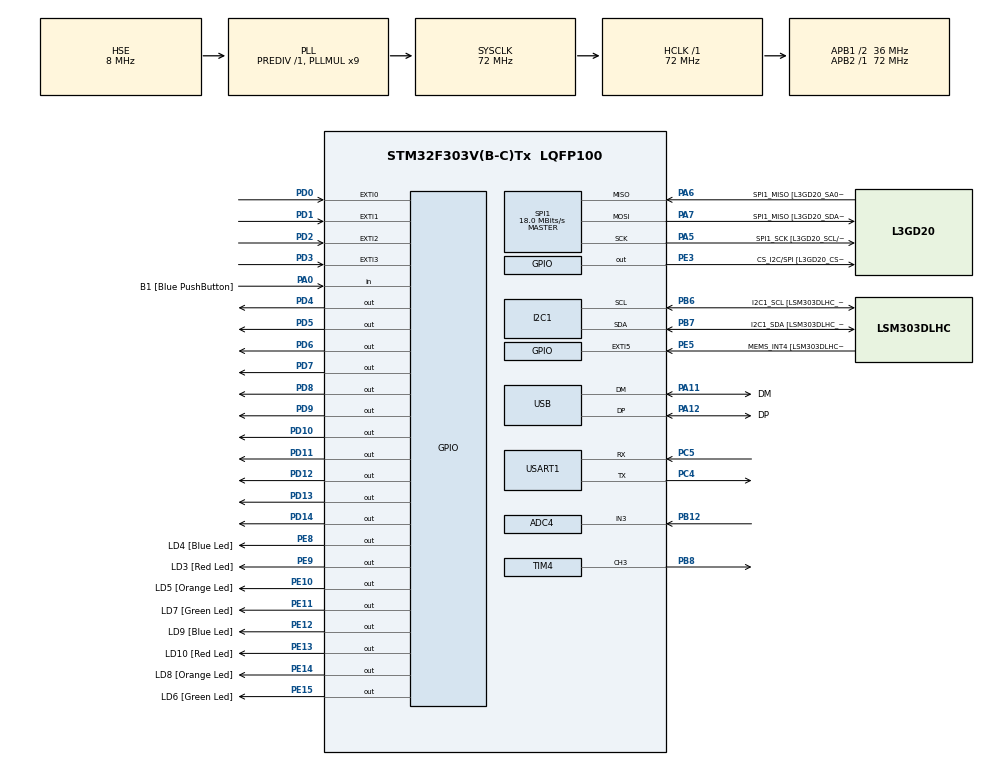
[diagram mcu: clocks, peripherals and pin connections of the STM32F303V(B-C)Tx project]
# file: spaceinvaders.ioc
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ADC4.Channel-0\#ChannelRegularConversion=ADC_CHANNEL_3
ADC4.NbrOfConversionFlag=1
ADC4.Offset-0\#ChannelRegularConversion=0
ADC4.OffsetNumber-0\#ChannelRegularConversion=ADC_OFFSET_NONE
ADC4.Rank-0\#ChannelRegularConversion=1
ADC4.SamplingTime-0\#ChannelRegularConversion=ADC_SAMPLETIME_601CYCLES_5
ADC4.SamplingTimeOPAMP-0\#ChannelRegularConversion=ADC_SAMPLETIME_61CYCLES_5
I2C1.Timing-I2C=0x2000090E
Mcu.Family=STM32F3
Mcu.Name=STM32F303V(B-C)Tx
Mcu.Package=LQFP100
NVIC.ADC4_IRQn=true\:6\:0\:true\:false\:true\:true\:true\:true
NVIC.EXTI0_IRQn=true\:3\:0\:true\:false\:true\:true\:true\:true
NVIC.EXTI1_IRQn=true\:3\:0\:true\:false\:true\:true\:true\:true
NVIC.EXTI2_TSC_IRQn=true\:3\:0\:true\:false\:true\:true\:true\:true
NVIC.EXTI3_IRQn=true\:3\:0\:true\:false\:true\:true\:true\:true
NVIC.PriorityGroup=NVIC_PRIORITYGROUP_3
NVIC.TIM2_IRQn=true\:5\:0\:true\:false\:true\:true\:true\:true
NVIC.TIM3_IRQn=true\:4\:0\:true\:false\:true\:true\:true\:true
NVIC.USART1_IRQn=true\:2\:0\:true\:false\:true\:true\:true\:true
PA0.GPIO_Label=B1 [Blue PushButton]
PA0.Signal=GPIO_Input
PA11.GPIO_Label=DM
PA11.Mode=Device
PA11.Signal=USB_DM
PA12.GPIO_Label=DP
PA12.Mode=Device
PA12.Signal=USB_DP
PA13.GPIO_Label=SWDIO
PA13.Mode=Serial_Wire
PA13.Signal=SYS_JTMS-SWDIO
PA14.GPIO_Label=SWCLK
PA14.Mode=Serial_Wire
PA14.Signal=SYS_JTCK-SWCLK
PA5.GPIO_Label=SPI1_SCK [L3GD20_SCL/SPC]
PA5.Mode=Full_Duplex_Master
PA5.Signal=SPI1_SCK
PA6.GPIO_Label=SPI1_MISO [L3GD20_SA0/SDO]
PA6.Mode=Full_Duplex_Master
PA6.Signal=SPI1_MISO
PA7.GPIO_Label=SPI1_MISO [L3GD20_SDA/SDI/SDO]
PA7.Mode=Full_Duplex_Master
PA7.Signal=SPI1_MOSI
PB12.Mode=IN3-Single-Ended
PB12.Signal=ADC4_IN3
PB3.GPIO_Label=SWO
PB3.Signal=SYS_JTDO-TRACESWO
PB6.GPIO_Label=I2C1_SCL [LSM303DLHC_SCL]
PB6.GPIO_Pu=GPIO_PULLUP
PB6.Mode=I2C
PB6.Signal=I2C1_SCL
PB7.GPIO_Label=I2C1_SDA [LSM303DLHC_SDA]
PB7.GPIO_Pu=GPIO_PULLUP
PB7.Mode=I2C
PB7.Signal=I2C1_SDA
PB8.Signal=S_TIM4_CH3
PC14-OSC32_IN.GPIO_Label=OSC32_IN
PC14-OSC32_IN.Signal=RCC_OSC32_IN
PC15-OSC32_OUT.GPIO_Label=OSC32_OUT
PC15-OSC32_OUT.Signal=RCC_OSC32_OUT
PC4.Mode=Asynchronous
PC4.Signal=USART1_TX
PC5.Mode=Asynchronous
PC5.Signal=USART1_RX
PD0.GPIO_PuPd=GPIO_PULLDOWN
PD0.Signal=GPXTI0
PD1.GPIO_PuPd=GPIO_PULLDOWN
PD1.Signal=GPXTI1
PD10.Signal=GPIO_Output
PD11.Signal=GPIO_Output
PD12.Signal=GPIO_Output
PD13.Signal=GPIO_Output
PD14.Signal=GPIO_Output
PD2.GPIO_PuPd=GPIO_PULLDOWN
PD2.Signal=GPXTI2
PD3.GPIO_PuPd=GPIO_PULLDOWN
PD3.Signal=GPXTI3
PD4.Signal=GPIO_Output
PD5.Signal=GPIO_Output
PD6.Signal=GPIO_Output
PD7.Signal=GPIO_Output
PD8.Signal=GPIO_Output
PD9.Signal=GPIO_Output
PE10.GPIO_Label=LD5 [Orange Led]
PE10.Signal=GPIO_Output
PE11.GPIO_Label=LD7 [Green Led]
PE11.Signal=GPIO_Output
PE12.GPIO_Label=LD9 [Blue Led]
PE12.Signal=GPIO_Output
PE13.GPIO_Label=LD10 [Red Led]
PE13.Signal=GPIO_Output
PE14.GPIO_Label=LD8 [Orange Led]
PE14.Signal=GPIO_Output
PE15.GPIO_Label=LD6 [Green Led]
PE15.Signal=GPIO_Output
PE3.GPIO_Label=CS_I2C/SPI [L3GD20_CS_I2C/SPI]
PE3.Signal=GPIO_Output
PE5.GPIO_Label=MEMS_INT4 [LSM303DLHC_INT2]
PE5.GPIO_ModeDefaultEXTI=GPIO_MODE_EVT_RISING
PE5.Signal=GPXTI5
PE8.GPIO_Label=LD4 [Blue Led]
PE8.Signal=GPIO_Output
PE9.GPIO_Label=LD3 [Red Led]
PE9.Signal=GPIO_Output
PF0-OSC_IN.GPIO_Label=OSC_IN
PF0-OSC_IN.Mode=HSE-External-Clock-Source
PF0-OSC_IN.Signal=RCC_OSC_IN
PF1-OSC_OUT.GPIO_Label=OSC_OUT
PF1-OSC_OUT.Signal=RCC_OSC_OUT
ProjectManager.HeapSize=0x200
ProjectManager.StackSize=0x400
ProjectManager.TargetToolchain=STM32CubeIDE
RCC.AHBFreq_Value=72000000
RCC.APB1CLKDivider=RCC_HCLK_DIV2
RCC.APB1Freq_Value=36000000
RCC.APB1TimFreq_Value=72000000
RCC.APB2Freq_Value=72000000
RCC.APB2TimFreq_Value=72000000
RCC.CortexFreq_Value=72000000
RCC.HCLKFreq_Value=72000000
RCC.HSE_VALUE=8000000
RCC.HSI_VALUE=8000000
RCC.LSE_VALUE=32768
RCC.PLLMUL=RCC_PLL_MUL9
RCC.PRESCALERUSB=RCC_USBCLKSOURCE_PLL_DIV1_5
RCC.SYSCLKFreq_VALUE=72000000
RCC.SYSCLKSourceVirtual=RCC_SYSCLKSOURCE_PLLCLK
RCC.USBFreq_Value=48000000
SH.S_TIM4_CH3.0=TIM4_CH3,PWM Generation3 CH3
SPI1.BaudRatePrescaler=SPI_BAUDRATEPRESCALER_4
SPI1.BaudRatePrescaler-Full_Duplex_Master=SPI_BAUDRATEPRESCALER_2
SPI1.CalculateBaudRate=18.0 MBits/s
SPI1.CalculateBaudRate-Full_Duplex_Master=24.0 MBits/s
SPI1.Direction=SPI_DIRECTION_2LINES
SPI1.Mode=SPI_MODE_MASTER
SPI1.Mode-Full_Duplex_Master=SPI_MODE_MASTER
SPI1.VirtualType=VM_MASTER
TIM2.Period=9999
TIM2.Prescaler=7199
TIM3.Period=9999
TIM3.Prescaler=7999
TIM4.Channel-PWM\ Generation3\ CH3=TIM_CHANNEL_3
USART1.VirtualMode-Asynchronous=VM_ASYNC
VP_RTC_VS_RTC_Activate.Mode=RTC_Enabled
VP_RTC_VS_RTC_Calendar.Mode=RTC_Calendar
VP_TIM2_VS_ClockSourceINT.Mode=Internal
VP_TIM3_VS_ClockSourceINT.Mode=Internal
VP_TIM4_VS_ClockSourceINT.Mode=Internal
board=STM32F3DISCOVERY

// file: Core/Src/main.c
/* USER CODE BEGIN Header */
/**
  ******************************************************************************
  * @file           : main.c
  * @brief          : Main program body
  ******************************************************************************
  * @attention
  *
  * Copyright (c) 2023 STMicroelectronics.
  * All rights reserved.
  *
  * This software is licensed under terms that can be found in the LICENSE file
  * in the root directory of this software component.
  * If no LICENSE file comes with this software, it is provided AS-IS.
  *
  ******************************************************************************
  */
/* USER CODE END Header */
#include "main.h"

/* USER CODE BEGIN Includes */
#include "LiquidCrystal.h"
#include "Managers/keypad_manager.h"
#include "PageStuff/page_printer.h"
#include "Managers/time_manager.h"
#include "game_configuration_state.h"
#include "app_action.h"
#include <Buzzer/buzzer_player.h>
#include "Managers/uart_manager.h"
#include <game_logic.h>
#include <stdlib.h>
#include <Managers/adc_manager.h>

/* USER CODE END Includes */

ADC_HandleTypeDef hadc4;

I2C_HandleTypeDef hi2c1;

RTC_HandleTypeDef hrtc;

SPI_HandleTypeDef hspi1;

TIM_HandleTypeDef htim2;
TIM_HandleTypeDef htim3;
TIM_HandleTypeDef htim4;

UART_HandleTypeDef huart1;

PCD_HandleTypeDef hpcd_USB_FS;

/* USER CODE BEGIN PV */
KeyPad_Manager keypad_manager;
Time_Manager time_manager;
Game_Configuration_State game_config_state;
App_Action action;
Page_Printer printer;
Buzzer_Player player;
UART_Manager uart_manager;
Game_Logic logic; // initialized when user choose level
ADC_Manager adc_manager;
char dest[10] = "s";
/* USER CODE END PV */

void SystemClock_Config(void);
static void MX_GPIO_Init(void);
static void MX_I2C1_Init(void);
static void MX_SPI1_Init(void);
static void MX_USB_PCD_Init(void);
static void MX_RTC_Init(void);
static void MX_TIM2_Init(void);
static void MX_TIM4_Init(void);
static void MX_TIM3_Init(void);
static void MX_USART1_UART_Init(void);
static void MX_ADC4_Init(void);

int main(void)
{

  /* MCU Configuration--------------------------------------------------------*/

  /* Reset of all peripherals, Initializes the Flash interface and the Systick. */
  HAL_Init();

  /* Configure the system clock */
  SystemClock_Config();

  /* Initialize all configured peripherals */
  MX_GPIO_Init();
  MX_I2C1_Init();
  MX_SPI1_Init();
  MX_USB_PCD_Init();
  MX_RTC_Init();
  MX_TIM2_Init();
  MX_TIM4_Init();
  MX_TIM3_Init();
  MX_USART1_UART_Init();
  MX_ADC4_Init();
  /* USER CODE BEGIN 2 */

  LiquidCrystal(GPIOD, GPIO_PIN_8, GPIO_PIN_9, GPIO_PIN_10, GPIO_PIN_11, GPIO_PIN_12, GPIO_PIN_13, GPIO_PIN_14);
  register_custom_characters();

  HAL_TIM_Base_Start_IT(&htim2);

  init_adc_manager(&adc_manager, &hadc4);
  init_keypad_manager(&keypad_manager);
  init_time_manager(&time_manager, &hrtc);
  init_game_configuration_state(&game_config_state);

  init_page_printer(&printer);

  init_uart_manager(&uart_manager, &huart1);
  init_app_action(&action, &time_manager, &game_config_state, &keypad_manager, &printer, &uart_manager, &player, &adc_manager);
  init_buzzer_player(&player, &htim4, TIM_CHANNEL_3);

  HAL_ADC_Start_IT(&hadc4);

  print_splash_view(&printer);
  buzzer_play(&player);
//  HAL_TIM_Base_Start_IT(&htim3);
  get_message_from_uart(&uart_manager);

  HAL_GPIO_WritePin(GPIOD, GPIO_PIN_4, 1);
  HAL_GPIO_WritePin(GPIOD, GPIO_PIN_5, 1);
  HAL_GPIO_WritePin(GPIOD, GPIO_PIN_6, 1);
  HAL_GPIO_WritePin(GPIOD, GPIO_PIN_7, 1);

  int last = 0;
  /* USER CODE END 2 */

  /* Infinite loop */
  while (1)
  {

    /* USER CODE BEGIN 3 */
	  	  if (HAL_GetTick() - last > 3000) {
//	  		  strcpy(dest, game_config_state.player_name);
	  		  HAL_UART_Transmit(&huart1, dest, sizeof(dest), 1000);
	  		  last = HAL_GetTick();
	  	  }
  }
  /* USER CODE END 3 */
}

void SystemClock_Config(void)
{
  RCC_OscInitTypeDef RCC_OscInitStruct = {0};
  RCC_ClkInitTypeDef RCC_ClkInitStruct = {0};
  RCC_PeriphCLKInitTypeDef PeriphClkInit = {0};

  /** Initializes the RCC Oscillators according to the specified parameters
  * in the RCC_OscInitTypeDef structure.
  */
  RCC_OscInitStruct.OscillatorType = RCC_OSCILLATORTYPE_HSI|RCC_OSCILLATORTYPE_LSI
                              |RCC_OSCILLATORTYPE_HSE;
  RCC_OscInitStruct.HSEState = RCC_HSE_BYPASS;
  RCC_OscInitStruct.HSEPredivValue = RCC_HSE_PREDIV_DIV1;
  RCC_OscInitStruct.HSIState = RCC_HSI_ON;
  RCC_OscInitStruct.HSICalibrationValue = RCC_HSICALIBRATION_DEFAULT;
  RCC_OscInitStruct.LSIState = RCC_LSI_ON;
  RCC_OscInitStruct.PLL.PLLState = RCC_PLL_ON;
  RCC_OscInitStruct.PLL.PLLSource = RCC_PLLSOURCE_HSE;
  RCC_OscInitStruct.PLL.PLLMUL = RCC_PLL_MUL9;
  if (HAL_RCC_OscConfig(&RCC_OscInitStruct) != HAL_OK)
  {
    Error_Handler();
  }

  /** Initializes the CPU, AHB and APB buses clocks
  */
  RCC_ClkInitStruct.ClockType = RCC_CLOCKTYPE_HCLK|RCC_CLOCKTYPE_SYSCLK
                              |RCC_CLOCKTYPE_PCLK1|RCC_CLOCKTYPE_PCLK2;
  RCC_ClkInitStruct.SYSCLKSource = RCC_SYSCLKSOURCE_PLLCLK;
  RCC_ClkInitStruct.AHBCLKDivider = RCC_SYSCLK_DIV1;
  RCC_ClkInitStruct.APB1CLKDivider = RCC_HCLK_DIV2;
  RCC_ClkInitStruct.APB2CLKDivider = RCC_HCLK_DIV1;

  if (HAL_RCC_ClockConfig(&RCC_ClkInitStruct, FLASH_LATENCY_2) != HAL_OK)
  {
    Error_Handler();
  }
  PeriphClkInit.PeriphClockSelection = RCC_PERIPHCLK_USB|RCC_PERIPHCLK_USART1
                              |RCC_PERIPHCLK_I2C1|RCC_PERIPHCLK_RTC
                              |RCC_PERIPHCLK_ADC34;
  PeriphClkInit.Usart1ClockSelection = RCC_USART1CLKSOURCE_PCLK2;
  PeriphClkInit.Adc34ClockSelection = RCC_ADC34PLLCLK_DIV1;
  PeriphClkInit.I2c1ClockSelection = RCC_I2C1CLKSOURCE_HSI;
  PeriphClkInit.RTCClockSelection = RCC_RTCCLKSOURCE_LSI;
  PeriphClkInit.USBClockSelection = RCC_USBCLKSOURCE_PLL_DIV1_5;
  if (HAL_RCCEx_PeriphCLKConfig(&PeriphClkInit) != HAL_OK)
  {
    Error_Handler();
  }
}

static void MX_ADC4_Init(void)
{

  ADC_ChannelConfTypeDef sConfig = {0};

  /** Common config
  */
  hadc4.Instance = ADC4;
  hadc4.Init.ClockPrescaler = ADC_CLOCK_ASYNC_DIV1;
  hadc4.Init.Resolution = ADC_RESOLUTION_12B;
  hadc4.Init.ScanConvMode = ADC_SCAN_DISABLE;
  hadc4.Init.ContinuousConvMode = DISABLE;
  hadc4.Init.DiscontinuousConvMode = DISABLE;
  hadc4.Init.ExternalTrigConvEdge = ADC_EXTERNALTRIGCONVEDGE_NONE;
  hadc4.Init.ExternalTrigConv = ADC_SOFTWARE_START;
  hadc4.Init.DataAlign = ADC_DATAALIGN_RIGHT;
  hadc4.Init.NbrOfConversion = 1;
  hadc4.Init.DMAContinuousRequests = DISABLE;
  hadc4.Init.EOCSelection = ADC_EOC_SINGLE_CONV;
  hadc4.Init.LowPowerAutoWait = DISABLE;
  hadc4.Init.Overrun = ADC_OVR_DATA_OVERWRITTEN;
  if (HAL_ADC_Init(&hadc4) != HAL_OK)
  {
    Error_Handler();
  }

  /** Configure Regular Channel
  */
  sConfig.Channel = ADC_CHANNEL_3;
  sConfig.Rank = ADC_REGULAR_RANK_1;
  sConfig.SingleDiff = ADC_SINGLE_ENDED;
  sConfig.SamplingTime = ADC_SAMPLETIME_601CYCLES_5;
  sConfig.OffsetNumber = ADC_OFFSET_NONE;
  sConfig.Offset = 0;
  if (HAL_ADC_ConfigChannel(&hadc4, &sConfig) != HAL_OK)
  {
    Error_Handler();
  }

}

static void MX_I2C1_Init(void)
{

  hi2c1.Instance = I2C1;
  hi2c1.Init.Timing = 0x2000090E;
  hi2c1.Init.OwnAddress1 = 0;
  hi2c1.Init.AddressingMode = I2C_ADDRESSINGMODE_7BIT;
  hi2c1.Init.DualAddressMode = I2C_DUALADDRESS_DISABLE;
  hi2c1.Init.OwnAddress2 = 0;
  hi2c1.Init.OwnAddress2Masks = I2C_OA2_NOMASK;
  hi2c1.Init.GeneralCallMode = I2C_GENERALCALL_DISABLE;
  hi2c1.Init.NoStretchMode = I2C_NOSTRETCH_DISABLE;
  if (HAL_I2C_Init(&hi2c1) != HAL_OK)
  {
    Error_Handler();
  }

  /** Configure Analogue filter
  */
  if (HAL_I2CEx_ConfigAnalogFilter(&hi2c1, I2C_ANALOGFILTER_ENABLE) != HAL_OK)
  {
    Error_Handler();
  }

  /** Configure Digital filter
  */
  if (HAL_I2CEx_ConfigDigitalFilter(&hi2c1, 0) != HAL_OK)
  {
    Error_Handler();
  }

}

static void MX_RTC_Init(void)
{

  RTC_TimeTypeDef sTime = {0};
  RTC_DateTypeDef sDate = {0};

  /** Initialize RTC Only
  */
  hrtc.Instance = RTC;
  hrtc.Init.HourFormat = RTC_HOURFORMAT_24;
  hrtc.Init.AsynchPrediv = 127;
  hrtc.Init.SynchPrediv = 255;
  hrtc.Init.OutPut = RTC_OUTPUT_DISABLE;
  hrtc.Init.OutPutPolarity = RTC_OUTPUT_POLARITY_HIGH;
  hrtc.Init.OutPutType = RTC_OUTPUT_TYPE_OPENDRAIN;
  if (HAL_RTC_Init(&hrtc) != HAL_OK)
  {
    Error_Handler();
  }

  /** Initialize RTC and set the Time and Date
  */
  sTime.Hours = 0x0;
  sTime.Minutes = 0x0;
  sTime.Seconds = 0x0;
  sTime.DayLightSaving = RTC_DAYLIGHTSAVING_NONE;
  sTime.StoreOperation = RTC_STOREOPERATION_RESET;
  if (HAL_RTC_SetTime(&hrtc, &sTime, RTC_FORMAT_BCD) != HAL_OK)
  {
    Error_Handler();
  }
  sDate.WeekDay = RTC_WEEKDAY_MONDAY;
  sDate.Month = RTC_MONTH_JANUARY;
  sDate.Date = 0x1;
  sDate.Year = 0x0;

  if (HAL_RTC_SetDate(&hrtc, &sDate, RTC_FORMAT_BCD) != HAL_OK)
  {
    Error_Handler();
  }

}

static void MX_SPI1_Init(void)
{

  /* SPI1 parameter configuration*/
  hspi1.Instance = SPI1;
  hspi1.Init.Mode = SPI_MODE_MASTER;
  hspi1.Init.Direction = SPI_DIRECTION_2LINES;
  hspi1.Init.DataSize = SPI_DATASIZE_4BIT;
  hspi1.Init.CLKPolarity = SPI_POLARITY_LOW;
  hspi1.Init.CLKPhase = SPI_PHASE_1EDGE;
  hspi1.Init.NSS = SPI_NSS_SOFT;
  hspi1.Init.BaudRatePrescaler = SPI_BAUDRATEPRESCALER_4;
  hspi1.Init.FirstBit = SPI_FIRSTBIT_MSB;
  hspi1.Init.TIMode = SPI_TIMODE_DISABLE;
  hspi1.Init.CRCCalculation = SPI_CRCCALCULATION_DISABLE;
  hspi1.Init.CRCPolynomial = 7;
  hspi1.Init.CRCLength = SPI_CRC_LENGTH_DATASIZE;
  hspi1.Init.NSSPMode = SPI_NSS_PULSE_ENABLE;
  if (HAL_SPI_Init(&hspi1) != HAL_OK)
  {
    Error_Handler();
  }

}

static void MX_TIM2_Init(void)
{

  TIM_ClockConfigTypeDef sClockSourceConfig = {0};
  TIM_MasterConfigTypeDef sMasterConfig = {0};

  htim2.Instance = TIM2;
  htim2.Init.Prescaler = 7199;
  htim2.Init.CounterMode = TIM_COUNTERMODE_UP;
  htim2.Init.Period = 9999;
  htim2.Init.ClockDivision = TIM_CLOCKDIVISION_DIV1;
  htim2.Init.AutoReloadPreload = TIM_AUTORELOAD_PRELOAD_DISABLE;
  if (HAL_TIM_Base_Init(&htim2) != HAL_OK)
  {
    Error_Handler();
  }
  sClockSourceConfig.ClockSource = TIM_CLOCKSOURCE_INTERNAL;
  if (HAL_TIM_ConfigClockSource(&htim2, &sClockSourceConfig) != HAL_OK)
  {
    Error_Handler();
  }
  sMasterConfig.MasterOutputTrigger = TIM_TRGO_RESET;
  sMasterConfig.MasterSlaveMode = TIM_MASTERSLAVEMODE_DISABLE;
  if (HAL_TIMEx_MasterConfigSynchronization(&htim2, &sMasterConfig) != HAL_OK)
  {
    Error_Handler();
  }

}

static void MX_TIM3_Init(void)
{

  TIM_ClockConfigTypeDef sClockSourceConfig = {0};
  TIM_MasterConfigTypeDef sMasterConfig = {0};

  htim3.Instance = TIM3;
  htim3.Init.Prescaler = 7999;
  htim3.Init.CounterMode = TIM_COUNTERMODE_UP;
  htim3.Init.Period = 9999;
  htim3.Init.ClockDivision = TIM_CLOCKDIVISION_DIV1;
  htim3.Init.AutoReloadPreload = TIM_AUTORELOAD_PRELOAD_DISABLE;
  if (HAL_TIM_Base_Init(&htim3) != HAL_OK)
  {
    Error_Handler();
  }
  sClockSourceConfig.ClockSource = TIM_CLOCKSOURCE_INTERNAL;
  if (HAL_TIM_ConfigClockSource(&htim3, &sClockSourceConfig) != HAL_OK)
  {
    Error_Handler();
  }
  sMasterConfig.MasterOutputTrigger = TIM_TRGO_RESET;
  sMasterConfig.MasterSlaveMode = TIM_MASTERSLAVEMODE_DISABLE;
  if (HAL_TIMEx_MasterConfigSynchronization(&htim3, &sMasterConfig) != HAL_OK)
  {
    Error_Handler();
  }

}

static void MX_TIM4_Init(void)
{

  TIM_ClockConfigTypeDef sClockSourceConfig = {0};
  TIM_MasterConfigTypeDef sMasterConfig = {0};
  TIM_OC_InitTypeDef sConfigOC = {0};

  htim4.Instance = TIM4;
  htim4.Init.Prescaler = 0;
  htim4.Init.CounterMode = TIM_COUNTERMODE_UP;
  htim4.Init.Period = 65535;
  htim4.Init.ClockDivision = TIM_CLOCKDIVISION_DIV1;
  htim4.Init.AutoReloadPreload = TIM_AUTORELOAD_PRELOAD_DISABLE;
  if (HAL_TIM_Base_Init(&htim4) != HAL_OK)
  {
    Error_Handler();
  }
  sClockSourceConfig.ClockSource = TIM_CLOCKSOURCE_INTERNAL;
  if (HAL_TIM_ConfigClockSource(&htim4, &sClockSourceConfig) != HAL_OK)
  {
    Error_Handler();
  }
  if (HAL_TIM_PWM_Init(&htim4) != HAL_OK)
  {
    Error_Handler();
  }
  sMasterConfig.MasterOutputTrigger = TIM_TRGO_RESET;
  sMasterConfig.MasterSlaveMode = TIM_MASTERSLAVEMODE_DISABLE;
  if (HAL_TIMEx_MasterConfigSynchronization(&htim4, &sMasterConfig) != HAL_OK)
  {
    Error_Handler();
  }
  sConfigOC.OCMode = TIM_OCMODE_PWM1;
  sConfigOC.Pulse = 0;
  sConfigOC.OCPolarity = TIM_OCPOLARITY_HIGH;
  sConfigOC.OCFastMode = TIM_OCFAST_DISABLE;
  if (HAL_TIM_PWM_ConfigChannel(&htim4, &sConfigOC, TIM_CHANNEL_3) != HAL_OK)
  {
    Error_Handler();
  }
  HAL_TIM_MspPostInit(&htim4);

}

static void MX_USART1_UART_Init(void)
{

  huart1.Instance = USART1;
  huart1.Init.BaudRate = 38400;
  huart1.Init.WordLength = UART_WORDLENGTH_8B;
  huart1.Init.StopBits = UART_STOPBITS_1;
  huart1.Init.Parity = UART_PARITY_NONE;
  huart1.Init.Mode = UART_MODE_TX_RX;
  huart1.Init.HwFlowCtl = UART_HWCONTROL_NONE;
  huart1.Init.OverSampling = UART_OVERSAMPLING_16;
  huart1.Init.OneBitSampling = UART_ONE_BIT_SAMPLE_DISABLE;
  huart1.AdvancedInit.AdvFeatureInit = UART_ADVFEATURE_NO_INIT;
  if (HAL_UART_Init(&huart1) != HAL_OK)
  {
    Error_Handler();
  }

}

static void MX_USB_PCD_Init(void)
{

  hpcd_USB_FS.Instance = USB;
  hpcd_USB_FS.Init.dev_endpoints = 8;
  hpcd_USB_FS.Init.speed = PCD_SPEED_FULL;
  hpcd_USB_FS.Init.phy_itface = PCD_PHY_EMBEDDED;
  hpcd_USB_FS.Init.low_power_enable = DISABLE;
  hpcd_USB_FS.Init.battery_charging_enable = DISABLE;
  if (HAL_PCD_Init(&hpcd_USB_FS) != HAL_OK)
  {
    Error_Handler();
  }

}

static void MX_GPIO_Init(void)
{
  GPIO_InitTypeDef GPIO_InitStruct = {0};

  /* GPIO Ports Clock Enable */
  __HAL_RCC_GPIOE_CLK_ENABLE();
  __HAL_RCC_GPIOC_CLK_ENABLE();
  __HAL_RCC_GPIOF_CLK_ENABLE();
  __HAL_RCC_GPIOA_CLK_ENABLE();
  __HAL_RCC_GPIOB_CLK_ENABLE();
  __HAL_RCC_GPIOD_CLK_ENABLE();

  /*Configure GPIO pin Output Level */
  HAL_GPIO_WritePin(GPIOE, CS_I2C_SPI_Pin|LD4_Pin|LD3_Pin|LD5_Pin
                          |LD7_Pin|LD9_Pin|LD10_Pin|LD8_Pin
                          |LD6_Pin, GPIO_PIN_RESET);

  /*Configure GPIO pin Output Level */
  HAL_GPIO_WritePin(GPIOD, GPIO_PIN_8|GPIO_PIN_9|GPIO_PIN_10|GPIO_PIN_11
                          |GPIO_PIN_12|GPIO_PIN_13|GPIO_PIN_14|GPIO_PIN_4
                          |GPIO_PIN_5|GPIO_PIN_6|GPIO_PIN_7, GPIO_PIN_RESET);

  /*Configure GPIO pins : CS_I2C_SPI_Pin LD4_Pin LD3_Pin LD5_Pin
                           LD7_Pin LD9_Pin LD10_Pin LD8_Pin
                           LD6_Pin */
  GPIO_InitStruct.Pin = CS_I2C_SPI_Pin|LD4_Pin|LD3_Pin|LD5_Pin
                          |LD7_Pin|LD9_Pin|LD10_Pin|LD8_Pin
                          |LD6_Pin;
  GPIO_InitStruct.Mode = GPIO_MODE_OUTPUT_PP;
  GPIO_InitStruct.Pull = GPIO_NOPULL;
  GPIO_InitStruct.Speed = GPIO_SPEED_FREQ_LOW;
  HAL_GPIO_Init(GPIOE, &GPIO_InitStruct);

  /*Configure GPIO pin : MEMS_INT4_Pin */
  GPIO_InitStruct.Pin = MEMS_INT4_Pin;
  GPIO_InitStruct.Mode = GPIO_MODE_EVT_RISING;
  GPIO_InitStruct.Pull = GPIO_NOPULL;
  HAL_GPIO_Init(MEMS_INT4_GPIO_Port, &GPIO_InitStruct);

  /*Configure GPIO pin : B1_Pin */
  GPIO_InitStruct.Pin = B1_Pin;
  GPIO_InitStruct.Mode = GPIO_MODE_INPUT;
  GPIO_InitStruct.Pull = GPIO_NOPULL;
  HAL_GPIO_Init(B1_GPIO_Port, &GPIO_InitStruct);

  /*Configure GPIO pins : PD8 PD9 PD10 PD11
                           PD12 PD13 PD14 PD4
                           PD5 PD6 PD7 */
  GPIO_InitStruct.Pin = GPIO_PIN_8|GPIO_PIN_9|GPIO_PIN_10|GPIO_PIN_11
                          |GPIO_PIN_12|GPIO_PIN_13|GPIO_PIN_14|GPIO_PIN_4
                          |GPIO_PIN_5|GPIO_PIN_6|GPIO_PIN_7;
  GPIO_InitStruct.Mode = GPIO_MODE_OUTPUT_PP;
  GPIO_InitStruct.Pull = GPIO_NOPULL;
  GPIO_InitStruct.Speed = GPIO_SPEED_FREQ_LOW;
  HAL_GPIO_Init(GPIOD, &GPIO_InitStruct);

  /*Configure GPIO pins : PD0 PD1 PD2 PD3 */
  GPIO_InitStruct.Pin = GPIO_PIN_0|GPIO_PIN_1|GPIO_PIN_2|GPIO_PIN_3;
  GPIO_InitStruct.Mode = GPIO_MODE_IT_RISING;
  GPIO_InitStruct.Pull = GPIO_PULLDOWN;
  HAL_GPIO_Init(GPIOD, &GPIO_InitStruct);

  /* EXTI interrupt init*/
  HAL_NVIC_SetPriority(EXTI0_IRQn, 3, 0);
  HAL_NVIC_EnableIRQ(EXTI0_IRQn);

  HAL_NVIC_SetPriority(EXTI1_IRQn, 3, 0);
  HAL_NVIC_EnableIRQ(EXTI1_IRQn);

  HAL_NVIC_SetPriority(EXTI2_TSC_IRQn, 3, 0);
  HAL_NVIC_EnableIRQ(EXTI2_TSC_IRQn);

  HAL_NVIC_SetPriority(EXTI3_IRQn, 3, 0);
  HAL_NVIC_EnableIRQ(EXTI3_IRQn);

}

void Error_Handler(void)
{
  __disable_irq();
  while (1)
  {
  }
}
